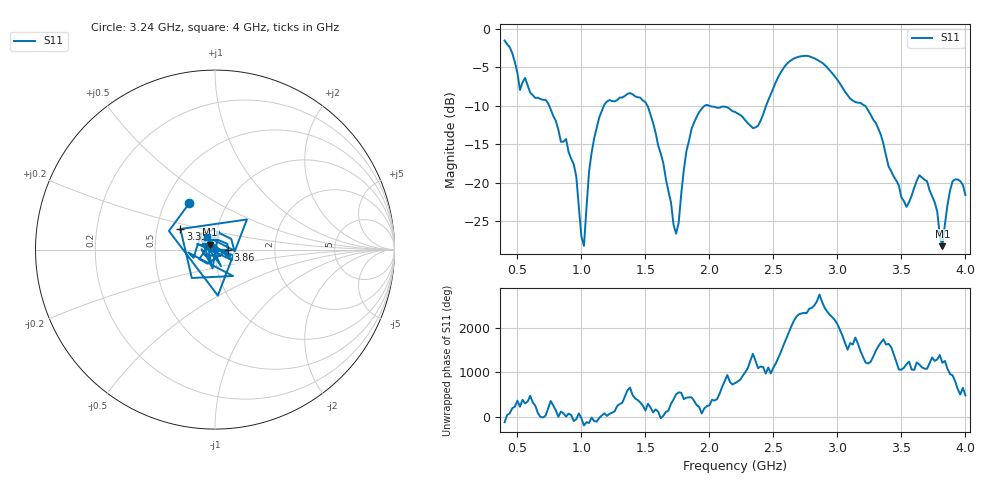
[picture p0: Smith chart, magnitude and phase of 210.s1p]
!Created with skrf (http://scikit-rf.org).
# Hz S RI R 50.0
!freq ReS11 ImS11
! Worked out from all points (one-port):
!   181 points, 400 MHz to 4 GHz, reference 50 ohm
!   lowest |S11| = -28.2 dB at 3.82 GHz (marker M1), VSWR 1.08, Z = 47.3 + j2.64 ohm
!   |S11| at or under -10 dB: 1.516 GHz to 1.964 GHz (448 MHz wide, 25.8 % of centre); 1.998 GHz to 2.443 GHz (445.4 MHz wide, 20.1 % of centre); 3.215 GHz to end of sweep (the widest 3 of 4)
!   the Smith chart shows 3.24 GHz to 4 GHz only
!   S11 on the Smith chart (normalised r, x): 3.24 GHz: 0.66, +0.37; 3.32 GHz: 0.66, +0.16; 3.86 GHz: 1.15, -0.01; 4 GHz: 0.91, +0.13
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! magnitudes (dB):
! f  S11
! 400 MHz  -1.5
! 520 MHz  -8.0
! 720 MHz  -9.2
! 860 MHz  -14.7
! 960 MHz  -19.2
! 1.02 GHz  -28.2
! 1.06 GHz  -18.5
! 1.12 GHz  -12.8
! 1.3 GHz  -8.9
! 1.52 GHz  -10.1
! 1.72 GHz  -25.5
! 1.76 GHz  -25.2
! 1.82 GHz  -15.9
! 1.9 GHz  -11.5
! 2.2 GHz  -10.8
! 2.38 GHz  -12.6
! 2.66 GHz  -3.9
! 2.88 GHz  -4.4
! 3.1 GHz  -9.1
! 3.24 GHz  -10.6
! 3.32 GHz  -13.0
! 3.56 GHz  -22.5
! 3.64 GHz  -19.0
! 3.7 GHz  -19.8
! 3.82 GHz  -28.2
! 3.86 GHz  -22.9
! 3.92 GHz  -19.6
! 4 GHz  -21.6
